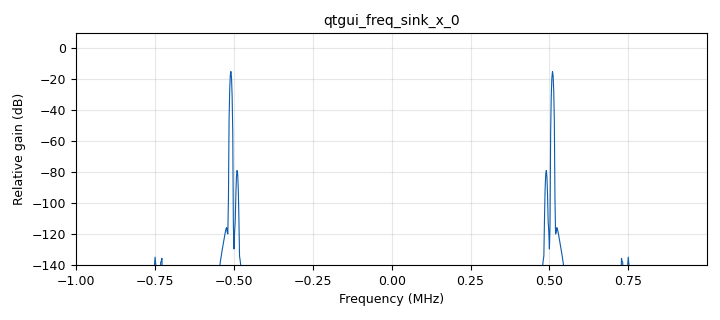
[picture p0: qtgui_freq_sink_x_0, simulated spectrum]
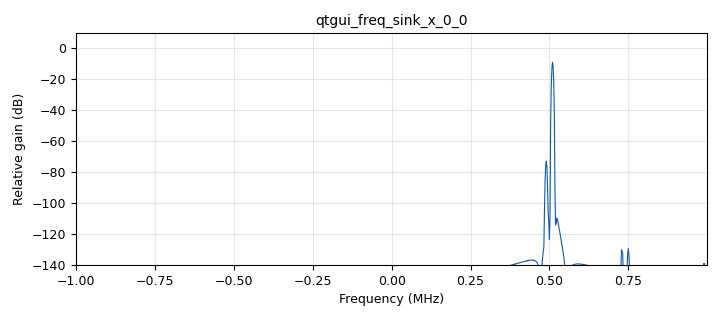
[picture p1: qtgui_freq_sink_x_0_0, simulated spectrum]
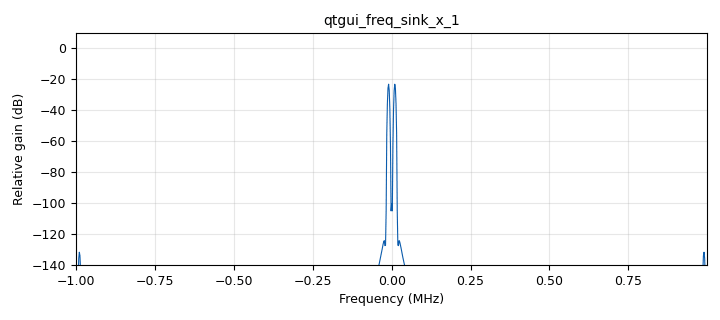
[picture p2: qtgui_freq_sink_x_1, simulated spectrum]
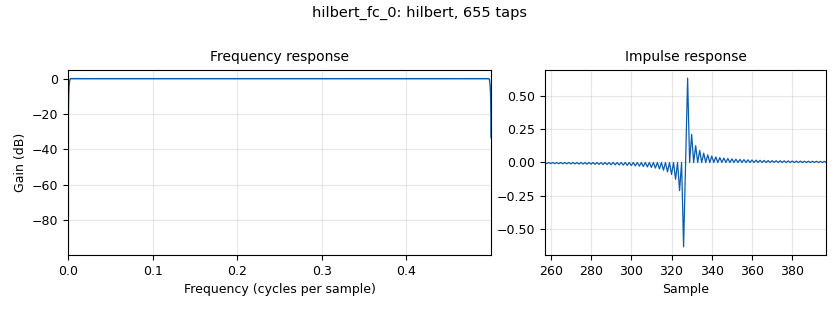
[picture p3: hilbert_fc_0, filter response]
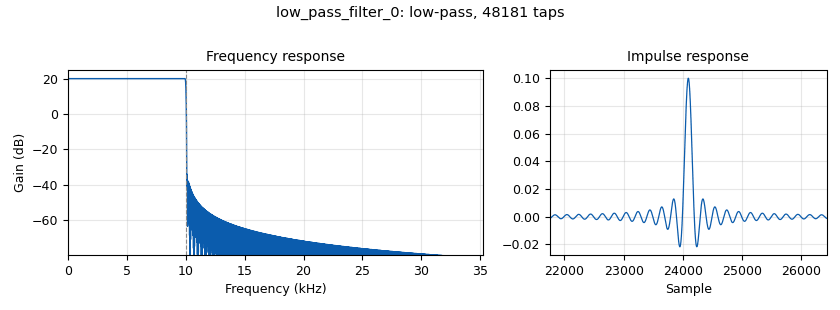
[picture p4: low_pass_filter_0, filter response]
<?xml version='1.0' encoding='utf-8'?>
<?grc format='1' created='3.7.9'?>
<flow_graph>
<block>
<key>options</key>
<param><key>id</key><value>top_block</value></param>
<param><key>category</key><value>Custom</value></param>
<param><key>generate_options</key><value>qt_gui</value></param>
</block>
<block>
<key>variable</key>
<param><key>id</key><value>samp_rate</value></param>
<param><key>value</key><value>2E6</value></param>
</block>
<block>
<key>analog_sig_source_x</key>
<param><key>id</key><value>analog_sig_source_x_0</value></param>
<param><key>amp</key><value>1</value></param>
<param><key>freq</key><value>500e3</value></param>
<param><key>offset</key><value>0</value></param>
<param><key>type</key><value>complex</value></param>
<param><key>samp_rate</key><value>samp_rate</value></param>
<param><key>waveform</key><value>analog.GR_COS_WAVE</value></param>
</block>
<block>
<key>analog_sig_source_x</key>
<param><key>id</key><value>analog_sig_source_x_0_0</value></param>
<param><key>amp</key><value>1</value></param>
<param><key>freq</key><value>10e3</value></param>
<param><key>offset</key><value>0</value></param>
<param><key>type</key><value>float</value></param>
<param><key>samp_rate</key><value>samp_rate</value></param>
<param><key>waveform</key><value>analog.GR_COS_WAVE</value></param>
</block>
<block>
<key>analog_sig_source_x</key>
<param><key>id</key><value>analog_sig_source_x_0_1</value></param>
<param><key>amp</key><value>1</value></param>
<param><key>freq</key><value>500E3</value></param>
<param><key>offset</key><value>0</value></param>
<param><key>type</key><value>float</value></param>
<param><key>samp_rate</key><value>samp_rate</value></param>
<param><key>waveform</key><value>analog.GR_COS_WAVE</value></param>
</block>
<block>
<key>audio_sink</key>
<param><key>id</key><value>audio_sink_0</value></param>
<param><key>samp_rate</key><value>32000</value></param>
</block>
<block>
<key>blocks_complex_to_real</key>
<param><key>id</key><value>blocks_complex_to_real_0</value></param>
</block>
<block>
<key>blocks_multiply_xx</key>
<param><key>id</key><value>blocks_multiply_xx_0</value></param>
<param><key>type</key><value>complex</value></param>
</block>
<block>
<key>blocks_multiply_xx</key>
<param><key>id</key><value>blocks_multiply_xx_0_0</value></param>
<param><key>type</key><value>float</value></param>
</block>
<block>
<key>blocks_throttle</key>
<param><key>id</key><value>blocks_throttle_0</value></param>
<param><key>samples_per_second</key><value>samp_rate</value></param>
<param><key>type</key><value>float</value></param>
</block>
<block>
<key>blocks_wavfile_source</key>
<param><key>id</key><value>blocks_wavfile_source_0</value></param>
<param><key>_enabled</key><value>0</value></param>
<param><key>file</key><value>/home/alok/Desktop/5TH-SEM/EE340/Lab1/Bach.wav</value></param>
<param><key>repeat</key><value>True</value></param>
</block>
<block>
<key>dc_blocker_xx</key>
<param><key>id</key><value>dc_blocker_xx_0</value></param>
<param><key>length</key><value>32</value></param>
<param><key>long_form</key><value>True</value></param>
<param><key>type</key><value>ff</value></param>
</block>
<block>
<key>hilbert_fc</key>
<param><key>id</key><value>hilbert_fc_0</value></param>
<param><key>num_taps</key><value>655</value></param>
<param><key>win</key><value>firdes.WIN_HAMMING</value></param>
</block>
<block>
<key>low_pass_filter</key>
<param><key>id</key><value>low_pass_filter_0</value></param>
<param><key>cutoff_freq</key><value>10e3</value></param>
<param><key>decim</key><value>1</value></param>
<param><key>type</key><value>fir_filter_fff</value></param>
<param><key>gain</key><value>10</value></param>
<param><key>samp_rate</key><value>samp_rate</value></param>
<param><key>width</key><value>100</value></param>
<param><key>win</key><value>firdes.WIN_HAMMING</value></param>
</block>
<block>
<key>qtgui_freq_sink_x</key>
<param><key>id</key><value>qtgui_freq_sink_x_0</value></param>
<param><key>bw</key><value>samp_rate</value></param>
<param><key>fc</key><value>0</value></param>
<param><key>fftsize</key><value>1024</value></param>
<param><key>showports</key><value>True</value></param>
<param><key>type</key><value>float</value></param>
<param><key>wintype</key><value>firdes.WIN_BLACKMAN_hARRIS</value></param>
</block>
<block>
<key>qtgui_freq_sink_x</key>
<param><key>id</key><value>qtgui_freq_sink_x_0_0</value></param>
<param><key>bw</key><value>samp_rate</value></param>
<param><key>fc</key><value>0</value></param>
<param><key>fftsize</key><value>1024</value></param>
<param><key>showports</key><value>True</value></param>
<param><key>type</key><value>complex</value></param>
<param><key>wintype</key><value>firdes.WIN_BLACKMAN_hARRIS</value></param>
</block>
<block>
<key>qtgui_freq_sink_x</key>
<param><key>id</key><value>qtgui_freq_sink_x_1</value></param>
<param><key>bw</key><value>samp_rate</value></param>
<param><key>fc</key><value>0</value></param>
<param><key>fftsize</key><value>1024</value></param>
<param><key>showports</key><value>True</value></param>
<param><key>type</key><value>float</value></param>
<param><key>wintype</key><value>firdes.WIN_BLACKMAN_hARRIS</value></param>
</block>
<connection><source_block_id>analog_sig_source_x_0</source_block_id><sink_block_id>blocks_multiply_xx_0</sink_block_id><source_key>0</source_key><sink_key>1</sink_key></connection>
<connection><source_block_id>analog_sig_source_x_0_0</source_block_id><sink_block_id>hilbert_fc_0</sink_block_id><source_key>0</source_key><sink_key>0</sink_key></connection>
<connection><source_block_id>analog_sig_source_x_0_1</source_block_id><sink_block_id>blocks_multiply_xx_0_0</sink_block_id><source_key>0</source_key><sink_key>0</sink_key></connection>
<connection><source_block_id>blocks_complex_to_real_0</source_block_id><sink_block_id>blocks_multiply_xx_0_0</sink_block_id><source_key>0</source_key><sink_key>1</sink_key></connection>
<connection><source_block_id>blocks_complex_to_real_0</source_block_id><sink_block_id>blocks_throttle_0</sink_block_id><source_key>0</source_key><sink_key>0</sink_key></connection>
<connection><source_block_id>blocks_multiply_xx_0</source_block_id><sink_block_id>blocks_complex_to_real_0</sink_block_id><source_key>0</source_key><sink_key>0</sink_key></connection>
<connection><source_block_id>blocks_multiply_xx_0</source_block_id><sink_block_id>qtgui_freq_sink_x_0_0</sink_block_id><source_key>0</source_key><sink_key>0</sink_key></connection>
<connection><source_block_id>blocks_multiply_xx_0_0</source_block_id><sink_block_id>dc_blocker_xx_0</sink_block_id><source_key>0</source_key><sink_key>0</sink_key></connection>
<connection><source_block_id>blocks_throttle_0</source_block_id><sink_block_id>qtgui_freq_sink_x_0</sink_block_id><source_key>0</source_key><sink_key>0</sink_key></connection>
<connection><source_block_id>blocks_wavfile_source_0</source_block_id><sink_block_id>hilbert_fc_0</sink_block_id><source_key>0</source_key><sink_key>0</sink_key></connection>
<connection><source_block_id>dc_blocker_xx_0</source_block_id><sink_block_id>low_pass_filter_0</sink_block_id><source_key>0</source_key><sink_key>0</sink_key></connection>
<connection><source_block_id>hilbert_fc_0</source_block_id><sink_block_id>blocks_multiply_xx_0</sink_block_id><source_key>0</source_key><sink_key>0</sink_key></connection>
<connection><source_block_id>low_pass_filter_0</source_block_id><sink_block_id>audio_sink_0</sink_block_id><source_key>0</source_key><sink_key>0</sink_key></connection>
<connection><source_block_id>low_pass_filter_0</source_block_id><sink_block_id>qtgui_freq_sink_x_1</sink_block_id><source_key>0</source_key><sink_key>0</sink_key></connection>
</flow_graph>
